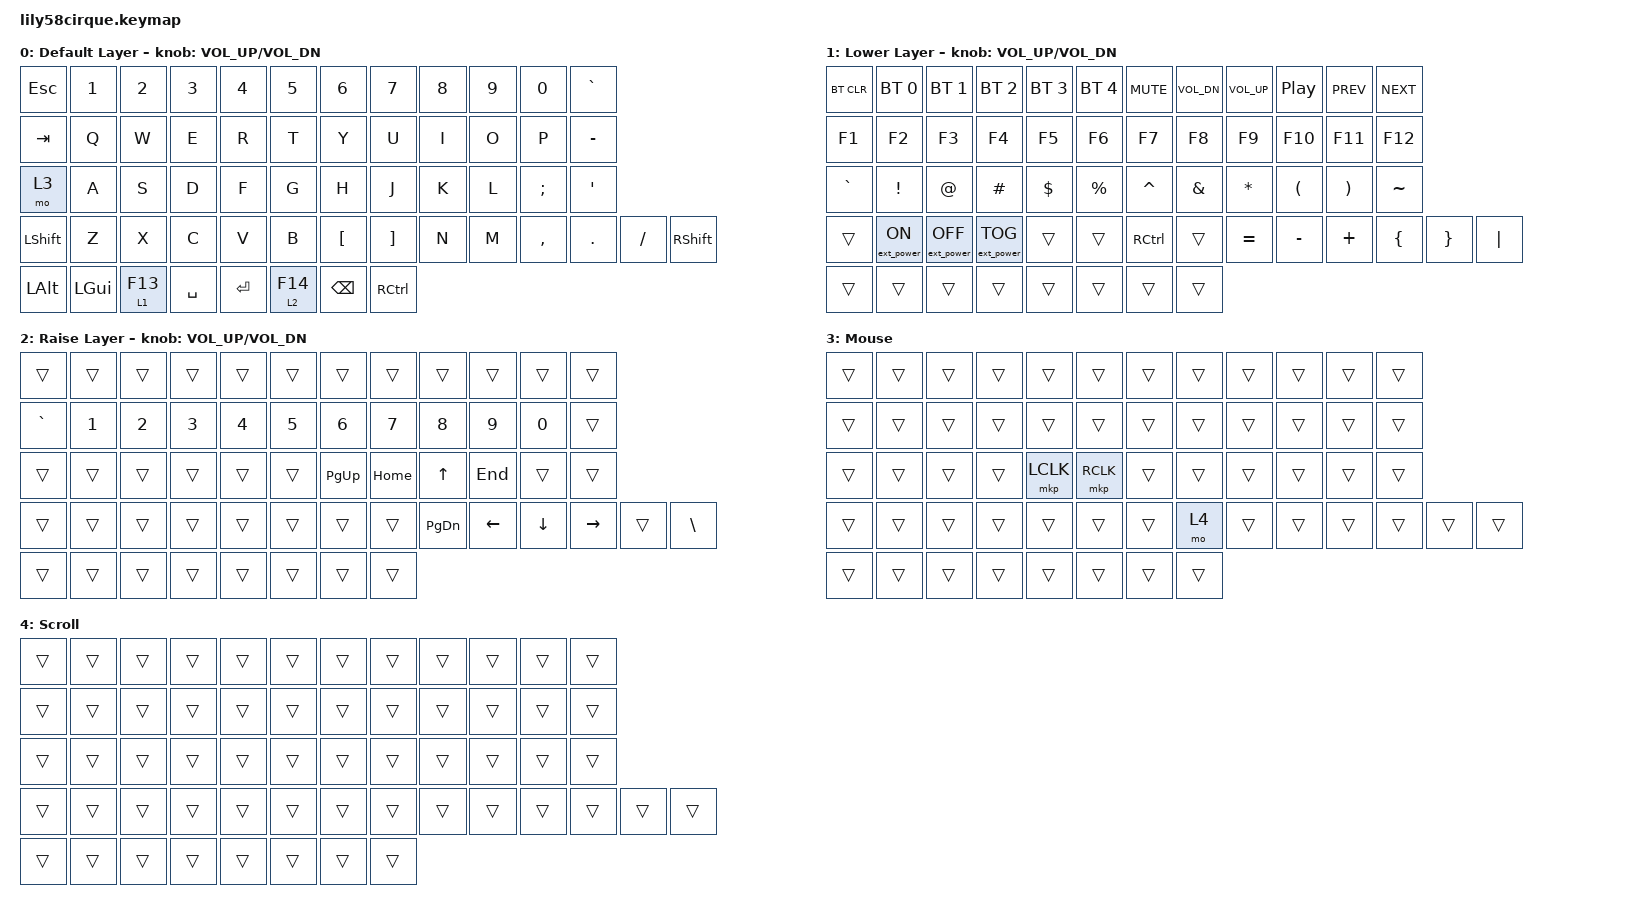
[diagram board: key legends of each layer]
/*
 * Copyright (c) 2020 The ZMK Contributors
 * SPDX-License-Identifier: MIT
 */

#include <dt-bindings/zmk/mouse.h>
#include <behaviors.dtsi>
#include <dt-bindings/zmk/bt.h>
#include <dt-bindings/zmk/ext_power.h>
#include <dt-bindings/zmk/keys.h>
#include <dt-bindings/zmk/pointing.h>

/ {
    keymap {
        compatible = "zmk,keymap";

        default_layer {
            display-name = "Default Layer";
            bindings = <
&kp ESC    &kp N1    &kp N2     &kp N3     &kp N4   &kp N5     &kp N6    &kp N7     &kp N8  &kp N9  &kp N0     &kp GRAVE
&kp TAB    &kp Q     &kp W      &kp E      &kp R    &kp T      &kp Y     &kp U      &kp I   &kp O   &kp P      &kp MINUS
&mo 3      &kp A     &kp S      &kp D      &kp F    &kp G      &kp H     &kp J      &kp K   &kp L   &kp SEMI   &kp SQT
&kp LSHFT  &kp Z     &kp X      &kp C      &kp V    &kp B      &kp LBKT  &kp RBKT   &kp N   &kp M   &kp COMMA  &kp DOT    &kp FSLH  &kp RSHFT
&kp LALT   &kp LGUI  &lt 1 F13  &kp SPACE  &kp RET  &lt 2 F14  &kp BSPC  &kp RCTRL
            >;

            sensor-bindings = <&inc_dec_kp C_VOL_UP C_VOL_DN>;
        };

        lower_layer {
            display-name = "Lower Layer";
            bindings = <
&bt BT_CLR  &bt BT_SEL 0      &bt BT_SEL 1       &bt BT_SEL 2       &bt BT_SEL 3  &bt BT_SEL 4  &kp C_MUTE  &kp C_VOL_DN  &kp C_VOL_UP  &kp C_PLAY_PAUSE  &kp C_PREV  &kp C_NEXT
&kp F1      &kp F2            &kp F3             &kp F4             &kp F5        &kp F6        &kp F7      &kp F8        &kp F9        &kp F10           &kp F11     &kp F12
&kp GRAVE   &kp EXCL          &kp AT             &kp HASH           &kp DOLLAR    &kp PRCNT     &kp CARET   &kp AMPS      &kp ASTRK     &kp LPAR          &kp RPAR    &kp TILDE
&trans      &ext_power EP_ON  &ext_power EP_OFF  &ext_power EP_TOG  &trans        &trans        &kp RCTRL   &trans        &kp EQUAL     &kp MINUS         &kp PLUS    &kp LBRC    &kp RBRC  &kp PIPE
&trans      &trans            &trans             &trans             &trans        &trans        &trans      &trans
            >;

            sensor-bindings = <&inc_dec_kp C_VOL_UP C_VOL_DN>;
        };

        raise_layer {
            display-name = "Raise Layer";
            bindings = <
&trans     &trans  &trans  &trans  &trans  &trans  &trans     &trans    &trans     &trans    &trans    &trans
&kp GRAVE  &kp N1  &kp N2  &kp N3  &kp N4  &kp N5  &kp N6     &kp N7    &kp N8     &kp N9    &kp N0    &trans
&trans     &trans  &trans  &trans  &trans  &trans  &kp PG_UP  &kp HOME  &kp UP     &kp END   &trans    &trans
&trans     &trans  &trans  &trans  &trans  &trans  &trans     &trans    &kp PG_DN  &kp LEFT  &kp DOWN  &kp RIGHT  &trans  &kp BSLH
&trans     &trans  &trans  &trans  &trans  &trans  &trans     &trans
            >;

            sensor-bindings = <&inc_dec_kp C_VOL_UP C_VOL_DN>;
        };

        mouse_layer {
            display-name = "Mouse";

            // Mouse layer (cursor):
            // F = click izquierdo
            // G = click derecho
            // R = mantener para entrar a scroll_layer (4) y mover el Cirque para scrollear

            bindings = <
&trans  &trans  &trans  &trans  &trans     &trans     &trans  &trans  &trans  &trans  &trans  &trans
&trans  &trans  &trans  &trans  &trans     &trans     &trans  &trans  &trans  &trans  &trans  &trans
&trans  &trans  &trans  &trans  &mkp LCLK  &mkp RCLK  &trans  &trans  &trans  &trans  &trans  &trans
&trans  &trans  &trans  &trans  &trans     &trans     &trans  &mo 4   &trans  &trans  &trans  &trans  &trans  &trans
&trans  &trans  &trans  &trans  &trans     &trans     &trans  &trans
            >;

            // Importante: ponemos R como &mo 4 en su POSICIÓN real con el siguiente paso
        };

        scroll_layer {
            display-name = "Scroll";
            bindings = <
&trans  &trans  &trans  &trans  &trans  &trans  &trans  &trans  &trans  &trans  &trans  &trans
&trans  &trans  &trans  &trans  &trans  &trans  &trans  &trans  &trans  &trans  &trans  &trans
&trans  &trans  &trans  &trans  &trans  &trans  &trans  &trans  &trans  &trans  &trans  &trans
&trans  &trans  &trans  &trans  &trans  &trans  &trans  &trans  &trans  &trans  &trans  &trans  &trans  &trans
&trans  &trans  &trans  &trans  &trans  &trans  &trans  &trans
            >;
        };
    };
};
